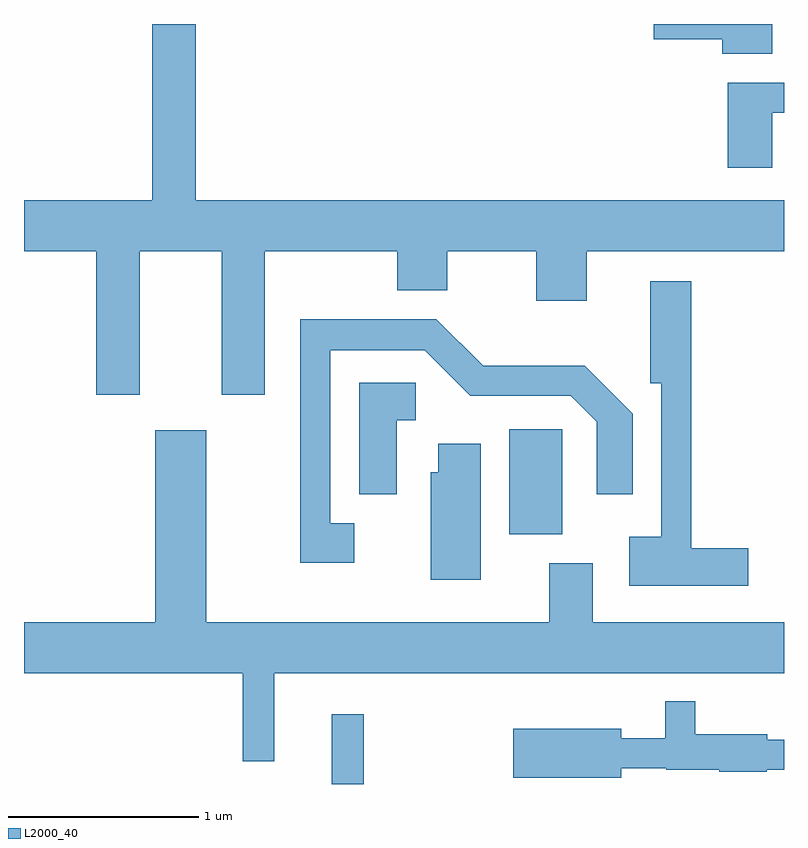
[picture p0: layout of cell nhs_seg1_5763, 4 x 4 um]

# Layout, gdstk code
import gdstk
lib = gdstk.Library(unit=1e-6, precision=1e-09)
def R(c, l, rs):  # rectangles x0, y0, x1, y1
    for r in rs: c.add(gdstk.rectangle(r[:2], r[2:], *l))
def P(c, l, *ps):  # polygons
    for p in ps: c.add(gdstk.Polygon(p, *l))
L2000_40 = (2000, 40)

nhs_seg1_5763 = lib.new_cell('nhs_seg1_5763')
R(nhs_seg1_5763, L2000_40, [(361.231,845.712,361.399,846.078), (362.166,847.026,362.444,847.579)])
P(nhs_seg1_5763, L2000_40, [(360.219,848.516),(360.651,848.516),(360.651,847.761),(360.879,847.761),(360.879,848.516),(361.576,848.516),(361.576,848.311),(361.839,848.311),(361.839,848.516),(362.306,848.516),(362.306,848.256),(362.574,848.256),(362.574,848.516),(363.611,848.516),(363.611,848.784),(360.514,848.784),(360.514,849.712),(360.286,849.712),(360.286,848.784),(359.611,848.784),(359.611,848.516),(359.991,848.516),(359.991,847.761),(360.219,847.761)],
  [(363.549,849.712),(362.926,849.712),(362.926,849.631),(363.286,849.631),(363.286,849.556),(363.549,849.556)],
  [(363.549,849.246),(363.611,849.246),(363.611,849.404),(363.316,849.404),(363.316,848.956),(363.549,848.956)],
  [(363.424,846.954),(363.124,846.954),(363.124,848.359),(362.906,848.359),(362.906,847.821),(362.966,847.821),(362.966,847.014),(362.796,847.014),(362.796,846.756),(363.424,846.756)],
  [(361.349,847.084),(361.224,847.084),(361.224,847.996),(361.719,847.996),(361.959,847.756),(362.489,847.756),(362.626,847.619),(362.626,847.236),(362.814,847.236),(362.814,847.662),(362.562,847.914),(362.027,847.914),(361.782,848.159),(361.066,848.159),(361.066,846.876),(361.349,846.876)],
  [(361.574,847.626),(361.674,847.626),(361.674,847.824),(361.376,847.824),(361.376,847.236),(361.574,847.236)],
  [(360.929,846.296),(363.611,846.296),(363.611,846.564),(362.604,846.564),(362.604,846.874),(362.376,846.874),(362.376,846.564),(360.569,846.564),(360.569,847.574),(360.301,847.574),(360.301,846.564),(359.611,846.564),(359.611,846.296),(360.761,846.296),(360.761,845.833),(360.929,845.833)],
  [(362.014,847.504),(361.791,847.504),(361.791,847.354),(361.751,847.354),(361.751,846.786),(362.014,846.786)],
  [(362.754,845.796),(362.99,845.796),(362.99,845.786),(363.27,845.786),(363.27,845.776),(363.52,845.776),(363.52,845.786),(363.611,845.786),(363.611,845.944),(363.524,845.944),(363.524,845.974),(363.144,845.974),(363.144,846.148),(362.986,846.148),(362.986,845.954),(362.754,845.954),(362.754,846.004),(362.186,846.004),(362.186,845.746),(362.754,845.746)])

lib.write_gds('nhs_seg1_5763.gds')
